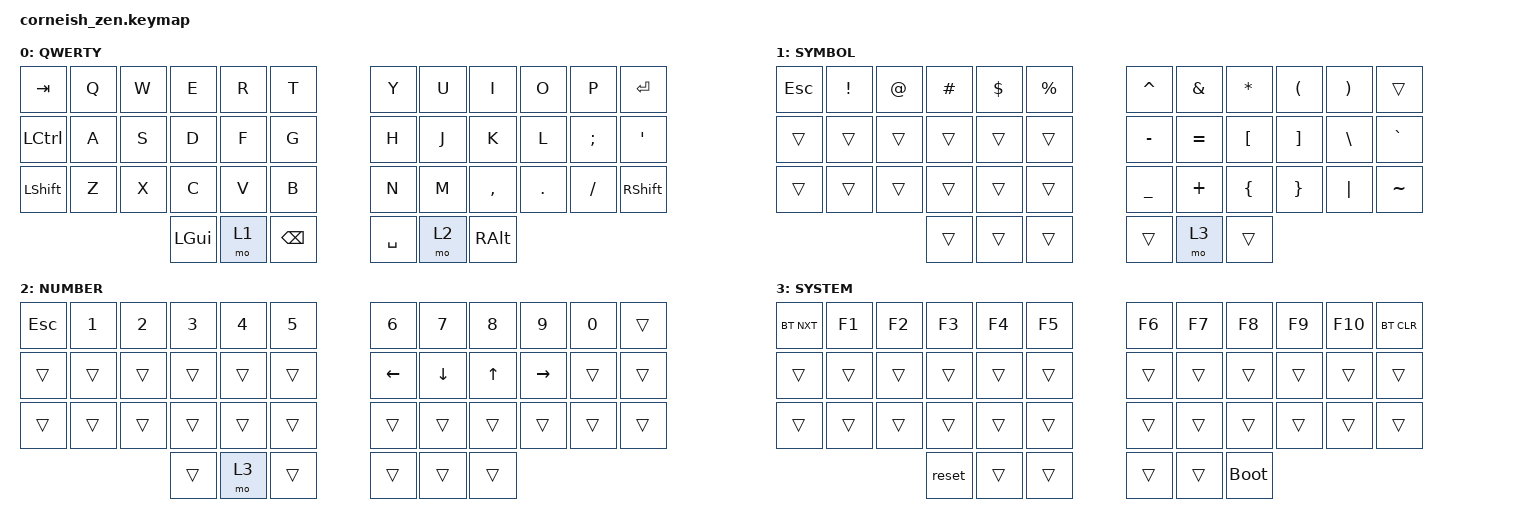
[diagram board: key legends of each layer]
#include <behaviors.dtsi>
#include <dt-bindings/zmk/keys.h>
#include <dt-bindings/zmk/bt.h>

/ {
  chosen {
    zmk,matrix_transform = &default_transform;
    //zmk,matrix_transform = &five_column_transform;
  };
};

/ {
        keymap {
                compatible = "zmk,keymap";

                default_layer {
                        label = "QWERTY";
                        bindings = <
    &kp TAB   &kp Q     &kp W     &kp E     &kp R     &kp T               &kp Y     &kp U     &kp I     &kp O     &kp P     &kp RET
    &kp LCTRL &kp A     &kp S     &kp D     &kp F     &kp G               &kp H     &kp J     &kp K     &kp L     &kp SEMI  &kp APOS
    &kp LSHFT &kp Z     &kp X     &kp C     &kp V     &kp B               &kp N     &kp M     &kp COMMA &kp DOT   &kp FSLH  &kp RSHFT
                                  &kp LGUI  &mo 1     &kp BSPC            &kp SPACE &mo 2     &kp RALT
                        >;
                };
                
                lower_layer {
                        label = "SYMBOL";
                        bindings = <
    &kp ESC   &kp EXCL  &kp AT    &kp HASH  &kp DLLR  &kp PRCNT           &kp CARET &kp AMPS  &kp ASTRK &kp LPAR  &kp RPAR  &trans
    &trans    &trans    &trans    &trans    &trans    &trans              &kp MINUS &kp EQUAL &kp LBKT  &kp RBKT  &kp BSLH  &kp GRAVE
    &trans    &trans    &trans    &trans    &trans    &trans              &kp UNDER &kp PLUS  &kp LBRC  &kp RBRC  &kp PIPE  &kp TILDE
                                  &trans    &trans    &trans              &trans    &mo 3     &trans
                        >;
                };
                
                raise_layer {
                        label = "NUMBER";
                        bindings = <
    &kp ESC   &kp N1    &kp N2    &kp N3    &kp N4    &kp N5              &kp N6    &kp N7    &kp N8    &kp N9    &kp N0    &trans
    &trans    &trans    &trans    &trans    &trans    &trans              &kp LEFT  &kp DOWN  &kp UP    &kp RIGHT &trans    &trans
    &trans    &trans    &trans    &trans    &trans    &trans              &trans    &trans    &trans    &trans    &trans    &trans
                                  &trans    &mo 3     &trans              &trans    &trans    &trans 
                        >;
                };

                system_layer {
                        label = "SYSTEM";
                        bindings = <
    &bt BT_NXT &kp F1   &kp F2    &kp F3    &kp F4    &kp F5              &kp F6    &kp F7    &kp F8    &kp F9    &kp F10   &bt BT_CLR
    &trans    &trans    &trans    &trans    &trans    &trans              &trans    &trans    &trans    &trans    &trans    &trans
    &trans    &trans    &trans    &trans    &trans    &trans              &trans    &trans    &trans    &trans    &trans    &trans
                                  &reset    &trans    &trans              &trans    &trans    &bootloader
                        >;
                };
        };
};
